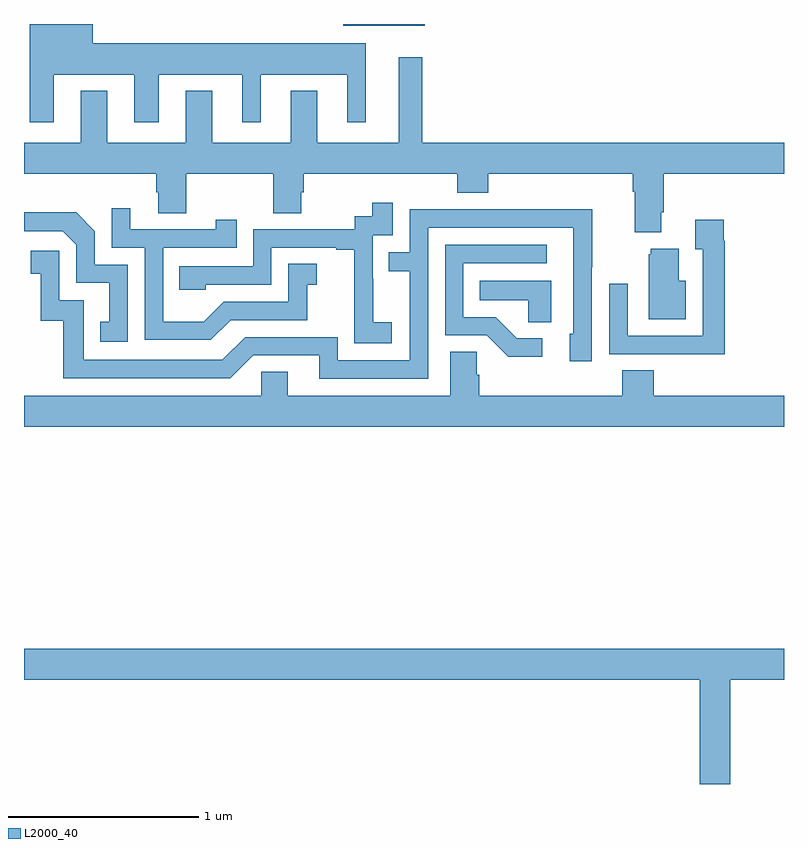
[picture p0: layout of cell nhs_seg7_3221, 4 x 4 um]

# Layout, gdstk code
import gdstk
lib = gdstk.Library(unit=1e-6, precision=1e-09)
def R(c, l, rs):  # rectangles x0, y0, x1, y1
    for r in rs: c.add(gdstk.rectangle(r[:2], r[2:], *l))
def P(c, l, *ps):  # polygons
    for p in ps: c.add(gdstk.Polygon(p, *l))
L2000_40 = (2000, 40)

nhs_seg7_3221 = lib.new_cell('nhs_seg7_3221')
R(nhs_seg7_3221, L2000_40, [(316.68,1071.992,317.11,1072)])
P(nhs_seg7_3221, L2000_40, [(315.157,1071.734),(315.581,1071.734),(315.581,1071.483),(315.709,1071.483),(315.709,1071.734),(316.148,1071.734),(316.148,1071.483),(316.246,1071.483),(316.246,1071.734),(316.7,1071.734),(316.7,1071.483),(316.798,1071.483),(316.798,1071.898),(315.361,1071.898),(315.361,1072),(315.029,1072),(315.029,1071.483),(315.157,1071.483)],
  [(318.355,1071.01),(318.368,1071.01),(318.368,1071.212),(319,1071.212),(319,1071.376),(317.095,1071.376),(317.095,1071.826),(316.973,1071.826),(316.973,1071.376),(316.543,1071.376),(316.543,1071.649),(316.403,1071.649),(316.403,1071.376),(315.991,1071.376),(315.991,1071.649),(315.851,1071.649),(315.851,1071.376),(315.439,1071.376),(315.439,1071.649),(315.299,1071.649),(315.299,1071.376),(315,1071.376),(315,1071.212),(315.695,1071.212),(315.695,1071.114),(315.707,1071.114),(315.707,1071.004),(315.855,1071.004),(315.855,1071.212),(316.312,1071.212),(316.312,1071.004),(316.459,1071.004),(316.459,1071.114),(316.472,1071.114),(316.472,1071.212),(317.279,1071.212),(317.279,1071.113),(317.444,1071.113),(317.444,1071.212),(318.203,1071.212),(318.203,1071.116),(318.215,1071.116),(318.215,1070.903),(318.355,1070.903)],
  [(316.936,1070.431),(316.838,1070.431),(316.838,1070.66),(316.836,1070.66),(316.836,1070.889),(316.941,1070.889),(316.941,1071.058),(316.833,1071.058),(316.833,1070.988),(316.74,1070.988),(316.74,1070.919),(316.206,1070.919),(316.206,1070.724),(315.817,1070.724),(315.817,1070.601),(315.957,1070.601),(315.957,1070.628),(316.302,1070.628),(316.302,1070.823),(316.643,1070.823),(316.643,1070.811),(316.739,1070.811),(316.739,1070.527),(316.738,1070.527),(316.738,1070.321),(316.936,1070.321)],
  [(316.087,1070.442),(316.491,1070.442),(316.491,1070.627),(316.54,1070.627),(316.54,1070.737),(316.392,1070.737),(316.392,1070.538),(316.05,1070.538),(315.946,1070.434),(315.732,1070.434),(315.732,1070.823),(316.121,1070.823),(316.121,1070.971),(316.01,1070.971),(316.01,1070.919),(315.559,1070.919),(315.559,1071.031),(315.462,1071.031),(315.462,1070.823),(315.636,1070.823),(315.636,1070.337),(315.982,1070.337)],
  [(317.127,1070.928),(317.892,1070.928),(317.892,1070.37),(317.873,1070.37),(317.873,1070.226),(317.988,1070.226),(317.988,1070.719),(317.991,1070.719),(317.991,1071.026),(317.527,1071.026),(317.527,1071.024),(317.031,1071.024),(317.031,1070.799),(316.921,1070.799),(316.921,1070.698),(317.031,1070.698),(317.031,1070.229),(316.65,1070.229),(316.65,1070.352),(316.164,1070.352),(316.044,1070.232),(315.315,1070.232),(315.315,1070.547),(315.186,1070.547),(315.186,1070.806),(315.036,1070.806),(315.036,1070.685),(315.089,1070.685),(315.089,1070.439),(315.207,1070.439),(315.207,1070.136),(316.086,1070.136),(316.206,1070.256),(316.553,1070.256),(316.553,1070.133),(317.127,1070.133)],
  [(315.546,1070.733),(315.372,1070.733),(315.372,1070.91),(315.274,1071.008),(315,1071.008),(315,1070.91),(315.204,1070.91),(315.276,1070.838),(315.276,1070.637),(315.449,1070.637),(315.449,1070.433),(315.4,1070.433),(315.4,1070.328),(315.546,1070.328)],
  [(318.689,1070.858),(318.682,1070.858),(318.682,1070.971),(318.533,1070.971),(318.533,1070.815),(318.573,1070.815),(318.573,1070.358),(318.177,1070.358),(318.177,1070.632),(318.081,1070.632),(318.081,1070.262),(318.397,1070.262),(318.397,1070.261),(318.689,1070.261)],
  [(317.728,1070.346),(317.593,1070.346),(317.482,1070.457),(317.313,1070.457),(317.313,1070.742),(317.752,1070.742),(317.752,1070.838),(317.217,1070.838),(317.217,1070.361),(317.436,1070.361),(317.549,1070.249),(317.728,1070.249)],
  [(318.484,1070.65),(318.445,1070.65),(318.445,1070.818),(318.299,1070.818),(318.299,1070.787),(318.287,1070.787),(318.287,1070.447),(318.484,1070.447)],
  [(317.776,1070.65),(317.398,1070.65),(317.398,1070.546),(317.655,1070.546),(317.655,1070.431),(317.776,1070.431)],
  [(319,1070.044),(318.314,1070.044),(318.314,1070.177),(318.149,1070.177),(318.149,1070.044),(317.396,1070.044),(317.396,1070.153),(317.382,1070.153),(317.382,1070.276),(317.243,1070.276),(317.243,1070.044),(316.387,1070.044),(316.387,1070.171),(316.248,1070.171),(316.248,1070.044),(315,1070.044),(315,1069.88),(319,1069.88)],
  [(315,1068.548),(318.557,1068.548),(318.557,1068),(318.717,1068),(318.717,1068.548),(319,1068.548),(319,1068.712),(315,1068.712)])

lib.write_gds('nhs_seg7_3221.gds')
